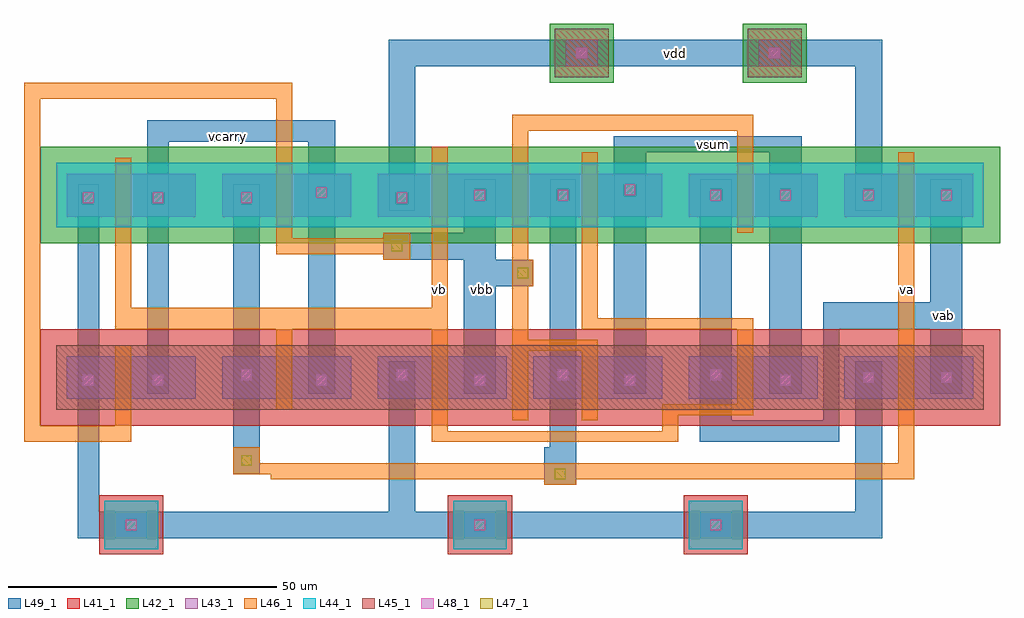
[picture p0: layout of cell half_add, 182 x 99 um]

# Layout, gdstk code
import gdstk
lib = gdstk.Library(unit=1e-6, precision=1e-09)
def R(c, l, rs):  # rectangles x0, y0, x1, y1
    for r in rs: c.add(gdstk.rectangle(r[:2], r[2:], *l))
def A(c, l, x, y, w, h, nx, ny, dx, dy):  # array of equal rectangles
    R(c, l, [(x+i*dx, y+j*dy, x+i*dx+w, y+j*dy+h) for i in range(nx) for j in range(ny)])
L41_1 = (41, 1)
L42_1 = (42, 1)
L43_1 = (43, 1)
L44_1 = (44, 1)
L45_1 = (45, 1)
L46_1 = (46, 1)
L47_1 = (47, 1)
L48_1 = (48, 1)
L49_1 = (49, 1)

half_add = lib.new_cell('half_add')
R(half_add, L41_1, [(-28,-63,-16,-52), (37,-63,49,-52), (81,-63,93,-52), (-39,-39,140,-21)])
R(half_add, L42_1, [(-39,-5,140,13), (56,25,68,36), (92,25,104,36)])
A(half_add, L43_1, -34, -34, 24, 8, 6, 1, 29, 0)
R(half_add, L43_1, [(-25,-60,-19,-55), (40,-60,46,-55), (84,-60,90,-55), (-34,0,-10,8), (-5,0,19,8), (24,0,77,8), (82,0,106,8), (111,0,135,8), (59,28,65,33), (95,28,101,33)])
R(half_add, L44_1, [(-27,-62,-17,-53), (38,-62,48,-53), (82,-62,92,-53), (-36,-2,137,10)])
R(half_add, L45_1, [(-36,-36,137,-24), (57,26,67,35), (93,26,103,35)])
R(half_add, L46_1, [(55,-50,61,-49), (4,-49,124,-48), (-3,-48,124,-46), (-3,-46,2,-43), (121,-46,124,12), (-42,-42,-22,-39), (34,-42,80,-40), (34,-40,37,-21), (77,-40,80,-37), (-42,-39,-39,22), (-25,-39,-22,-24), (49,-38,52,-25), (62,-38,65,-25), (77,-37,94,-35), (5,-36,8,-21), (91,-35,94,-21), (49,-25,65,-23), (49,-23,52,-13), (-25,-21,37,-17), (62,-21,94,-19), (62,-19,65,12), (-25,-17,-22,11), (34,-17,37,13), (49,-13,53,-8), (25,-8,30,-7), (49,-8,52,16), (5,-7,30,-4), (5,-4,8,22), (25,-4,30,-3), (91,-3,94,16), (49,16,94,19), (-42,22,8,25)])
R(half_add, L47_1, [(57,-49,59,-47), (-1.5,-46.5,0.5,-44.5), (50,-11.5,52,-9.5), (26.5,-6.5,28.5,-4.5)])
R(half_add, L48_1, [(-23,-58.5,-21,-56.5), (42,-58.5,44,-56.5), (86,-58.5,88,-56.5), (-31,-31.5,-29,-29.5), (-18,-31.5,-16,-29.5), (12.5,-31.5,14.5,-29.5), (42,-31.5,44,-29.5), (70,-31.5,72,-29.5), (99,-31.5,101,-29.5), (114.5,-31,116.5,-29), (129,-31,131,-29), (-1.5,-30.5,0.5,-28.5), (27.5,-30.5,29.5,-28.5), (57.5,-30.5,59.5,-28.5), (86,-30.5,88,-28.5), (-31,2.5,-29,4.5), (-18,2.5,-16,4.5), (-1.5,2.5,0.5,4.5), (27.5,2.5,29.5,4.5), (42,3,44,5), (57.5,3,59.5,5), (86,3,88,5), (99,3,101,5), (114.5,3,116.5,5), (129,3,131,5), (12.5,3.5,14.5,5.5), (70,4,72,6), (61,29.5,63,31.5), (97,29.5,99,31.5)])
R(half_add, L49_1, [(-32,-60,118,-55), (-32,-55,-28,6), (26,-55,31,-27), (113,-55,118,-27), (55,-50,61,-43), (-3,-48,2,6), (56,-43,61,7), (84,-42,110,-38), (84,-38,90,7), (107,-38,110,-21), (-19,-33,-15,14), (11,-33,16,14), (40,-33,46,-13), (68,-33,74,12), (97,-33,103,12), (127,-33,133,-21), (107,-21,133,-16), (127,-16,133,7), (40,-13,53,-8), (25,-8,46,-3), (40,-3,46,7), (26,1,31,28), (113,1,118,28), (68,12,103,15), (-19,14,16,18), (26,28,118,33)])
half_add.add(gdstk.Label('vdd', (79.5,30.5), layer=49, texttype=1))
half_add.add(gdstk.Label('vb', (35.5,-13.5), layer=46, texttype=1))
half_add.add(gdstk.Label('vbb', (43.5,-13.5), layer=49, texttype=1))
half_add.add(gdstk.Label('va', (122.5,-13.5), layer=46, texttype=1))
half_add.add(gdstk.Label('vab', (129.5,-18.5), layer=49, texttype=1))
half_add.add(gdstk.Label('vsum', (86.5,13.5), layer=49, texttype=1))
half_add.add(gdstk.Label('vcarry', (-4,15), layer=49, texttype=1))

lib.write_gds('half_add.gds')
